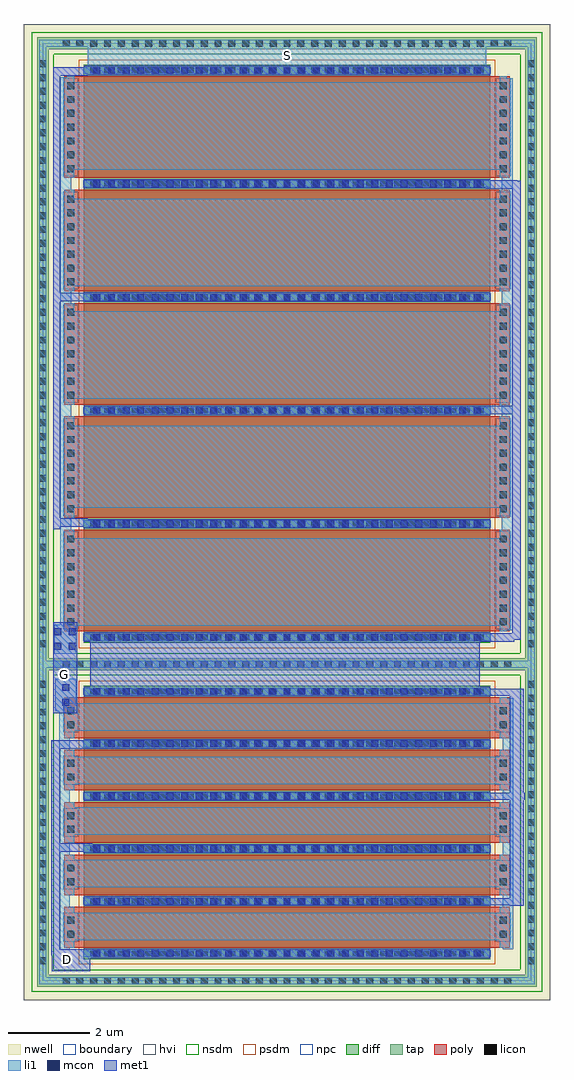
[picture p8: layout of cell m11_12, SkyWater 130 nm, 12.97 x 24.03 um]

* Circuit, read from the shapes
.subckt m11_12 D G S
XM1 n1 G D S sky130_fd_pr__pfet_g5v0d10v5 w=10 l=1 m=5
XM2 S G n1 S sky130_fd_pr__pfet_g5v0d10v5 w=10 l=2.5 m=5
.ends

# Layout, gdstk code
from math import pi, radians
import gdstk
lib = gdstk.Library(unit=1e-6, precision=1e-09)
def R(c, l, rs):  # rectangles x0, y0, x1, y1
    for r in rs: c.add(gdstk.rectangle(r[:2], r[2:], *l))
def A(c, l, x, y, w, h, nx, ny, dx, dy):  # array of equal rectangles
    R(c, l, [(x+i*dx, y+j*dy, x+i*dx+w, y+j*dy+h) for i in range(nx) for j in range(ny)])
nwell = (64, 20)
diff = (65, 20)
tap = (65, 44)
poly = (66, 20)
licon = (66, 44)
li1 = (67, 20)
mcon = (67, 44)
met1 = (68, 20)
hvi = (75, 20)
nsdm = (93, 44)
psdm = (94, 20)
npc = (95, 20)
boundary = (235, 4)

sky130_fd_pr__pfet_g5v0d = lib.new_cell('sky130_fd_pr__pfet_g5v0d10v5_K6B4C5')
R(sky130_fd_pr__pfet_g5v0d, nwell, [(-4.37,-6.485,4.37,6.485)])
R(sky130_fd_pr__pfet_g5v0d, diff, [(-3.37,-5,3.37,5)])
R(sky130_fd_pr__pfet_g5v0d, tap, [(-4.04,-6.155,4.04,-5.865), (-4.04,-5.865,-3.75,5.865), (3.75,-5.865,4.04,5.865), (-4.04,5.865,4.04,6.155)])
A(sky130_fd_pr__pfet_g5v0d, poly, -3.08, -5.485, 1, 10.97, 5, 1, 1.29, 0)
A(sky130_fd_pr__pfet_g5v0d, licon, -3.485, -6.095, 0.17, 0.17, 21, 2, 0.34, 12.02)
A(sky130_fd_pr__pfet_g5v0d, licon, -3.98, -5.525, 0.17, 0.17, 1, 33, 0, 0.34)
A(sky130_fd_pr__pfet_g5v0d, licon, 3.81, -5.525, 0.17, 0.17, 1, 33, 0, 0.34)
A(sky130_fd_pr__pfet_g5v0d, licon, -3.31, -4.845, 0.17, 0.17, 6, 29, 1.29, 0.34)
R(sky130_fd_pr__pfet_g5v0d, licon, [(-2.835,-5.405,-2.665,-5.235), (-2.495,-5.405,-2.325,-5.235), (-1.545,-5.405,-1.375,-5.235), (-1.205,-5.405,-1.035,-5.235), (-0.255,-5.405,-0.085,-5.235), (0.085,-5.405,0.255,-5.235), (1.035,-5.405,1.205,-5.235), (1.375,-5.405,1.545,-5.235), (2.325,-5.405,2.495,-5.235), (2.665,-5.405,2.835,-5.235), (-2.835,5.235,-2.665,5.405), (-2.495,5.235,-2.325,5.405), (-1.545,5.235,-1.375,5.405), (-1.205,5.235,-1.035,5.405), (-0.255,5.235,-0.085,5.405), (0.085,5.235,0.255,5.405), (1.035,5.235,1.205,5.405), (1.375,5.235,1.545,5.405), (2.325,5.235,2.495,5.405), (2.665,5.235,2.835,5.405)])
A(sky130_fd_pr__pfet_g5v0d, li1, -3.08, -5.405, 1, 0.17, 5, 2, 1.29, 10.64)
A(sky130_fd_pr__pfet_g5v0d, li1, -3.31, -5.02, 0.17, 10.04, 6, 1, 1.29, 0)
R(sky130_fd_pr__pfet_g5v0d, li1, [(-3.98,-6.095,3.98,-5.925), (-3.98,-5.925,-3.81,5.925), (3.81,-5.925,3.98,5.925), (-3.98,5.925,3.98,6.095)])
A(sky130_fd_pr__pfet_g5v0d, mcon, -3.31, -4.765, 0.17, 0.17, 6, 27, 1.29, 0.36)
A(sky130_fd_pr__pfet_g5v0d, met1, -3.34, -5, 0.23, 10, 6, 1, 1.29, 0)
R(sky130_fd_pr__pfet_g5v0d, hvi, [(-4.37,-6.485,4.37,6.485)])
R(sky130_fd_pr__pfet_g5v0d, nsdm, [(-4.165,-6.28,4.165,-5.74), (-4.165,-5.74,-3.625,5.74), (3.625,-5.74,4.165,5.74), (-4.165,5.74,4.165,6.28)])
R(sky130_fd_pr__pfet_g5v0d, psdm, [(-3.495,-5.125,3.495,5.125)])
A(sky130_fd_pr__pfet_g5v0d, npc, -2.935, -5.505, 0.71, 0.37, 5, 2, 1.29, 10.64)
R(sky130_fd_pr__pfet_g5v0d, boundary, [(-3.895,-6.01,3.895,6.01)])

c_sky130_fd_pr__pfet_g5v0d = lib.new_cell('sky130_fd_pr__pfet_g5v0d10v5_4QM9AE')
R(c_sky130_fd_pr__pfet_g5v0d, nwell, [(-8.12,-6.485,8.12,6.485)])
R(c_sky130_fd_pr__pfet_g5v0d, diff, [(-7.12,-5,7.12,5)])
R(c_sky130_fd_pr__pfet_g5v0d, tap, [(-7.79,-6.155,7.79,-5.865), (-7.79,-5.865,-7.5,5.865), (7.5,-5.865,7.79,5.865), (-7.79,5.865,7.79,6.155)])
A(c_sky130_fd_pr__pfet_g5v0d, poly, -6.83, -5.485, 2.5, 10.97, 5, 1, 2.79, 0)
A(c_sky130_fd_pr__pfet_g5v0d, licon, -7.225, -6.095, 0.17, 0.17, 43, 2, 0.34, 12.02)
A(c_sky130_fd_pr__pfet_g5v0d, licon, -7.73, -5.525, 0.17, 0.17, 1, 33, 0, 0.34)
A(c_sky130_fd_pr__pfet_g5v0d, licon, -6.685, -5.405, 0.17, 0.17, 7, 2, 0.34, 10.64)
A(c_sky130_fd_pr__pfet_g5v0d, licon, -3.895, -5.405, 0.17, 0.17, 7, 2, 0.34, 10.64)
A(c_sky130_fd_pr__pfet_g5v0d, licon, -1.105, -5.405, 0.17, 0.17, 7, 2, 0.34, 10.64)
A(c_sky130_fd_pr__pfet_g5v0d, licon, 1.685, -5.405, 0.17, 0.17, 7, 2, 0.34, 10.64)
A(c_sky130_fd_pr__pfet_g5v0d, licon, 4.475, -5.405, 0.17, 0.17, 7, 2, 0.34, 10.64)
A(c_sky130_fd_pr__pfet_g5v0d, licon, -7.06, -4.845, 0.17, 0.17, 6, 29, 2.79, 0.34)
A(c_sky130_fd_pr__pfet_g5v0d, li1, -6.83, -5.405, 2.5, 0.17, 5, 2, 2.79, 10.64)
A(c_sky130_fd_pr__pfet_g5v0d, li1, -7.06, -5.02, 0.17, 10.04, 6, 1, 2.79, 0)
R(c_sky130_fd_pr__pfet_g5v0d, li1, [(-7.73,-6.095,7.73,-5.925), (-7.73,-5.925,-7.56,5.925), (7.56,-5.925,7.73,-5.76), (7.56,5.74,7.73,5.925), (-7.73,5.925,7.73,6.095)])
A(c_sky130_fd_pr__pfet_g5v0d, mcon, -7.06, -4.765, 0.17, 0.17, 6, 27, 2.79, 0.36)
A(c_sky130_fd_pr__pfet_g5v0d, met1, -7.09, -5, 0.23, 10, 6, 1, 2.79, 0)
R(c_sky130_fd_pr__pfet_g5v0d, hvi, [(-8.12,-6.485,8.12,6.485)])
R(c_sky130_fd_pr__pfet_g5v0d, nsdm, [(-7.915,-6.28,7.915,-5.74), (-7.915,-5.74,-7.375,5.74), (7.375,-5.74,7.915,5.74), (-7.915,5.74,7.915,6.28)])
R(c_sky130_fd_pr__pfet_g5v0d, psdm, [(-7.245,-5.125,7.245,5.125)])
A(c_sky130_fd_pr__pfet_g5v0d, npc, -6.785, -5.505, 2.41, 0.37, 5, 2, 2.79, 10.64)
R(c_sky130_fd_pr__pfet_g5v0d, boundary, [(-7.645,-6.01,7.645,6.01)])

m11_12 = lib.new_cell('m11_12')
R(m11_12, li1, [(-4.95,105.61,-4.69,105.84), (5.97,105.63,6.23,107.15), (-4.95,105.84,5.96,106.52), (-4.95,106.52,-4.69,108.44), (-4.67,107.15,6.23,107.83), (5.97,107.83,6.23,111.81), (-4.95,108.44,5.92,109.12), (-4.95,109.12,-4.69,109.69), (-4.95,109.69,5.96,110.37), (-4.95,110.37,-4.69,111), (-4.95,111,5.96,111.49), (-5.05,111.49,5.96,111.68), (-5.05,111.68,-4.53,112.29), (-5.07,112.9,-4.54,113.59), (5.95,113.48,6.22,113.59), (-5.07,113.59,6.22,113.62), (-4.92,113.62,6.22,115.74), (-4.92,115.74,-4.65,116.49), (5.95,115.74,6.22,116.49), (-4.92,116.49,6.22,118.51), (-4.92,118.51,-4.65,119.18), (5.95,118.51,6.22,119.18), (-4.92,119.18,6.22,121.33), (-4.92,121.33,-4.65,121.95), (5.95,121.33,6.22,121.95), (-4.92,121.95,6.22,124.1), (-4.92,124.1,-4.65,124.82), (5.95,124.1,6.22,124.82), (-4.92,124.82,6.22,126.97), (-4.92,126.97,-4.65,127.1), (5.95,126.97,6.22,127.07), (-4.25,127.22,5.57,127.98)])
R(m11_12, mcon, [(-4.875,111.625,-4.705,111.795), (-4.875,111.985,-4.705,112.155), (-5.07,112.995,-4.9,113.165), (-4.71,112.995,-4.54,113.165), (-5.07,113.355,-4.9,113.525), (-4.71,113.355,-4.54,113.525)])
A(m11_12, met1, -5.1, 116.03, 0.86, 0.21, 1, 3, 0, 5.55)
R(m11_12, met1, [(-5.13,105.08,-4.18,105.48), (-5.14,105.48,-4.18,105.63), (-5.14,105.63,-4.92,108.02), (6.14,106.69,6.49,106.71), (5.41,106.71,6.49,106.88), (6.14,106.88,6.49,109.31), (-5.14,108.02,-4.14,108.23), (-5.14,108.23,-4.92,110.565), (5.47,109.31,6.51,109.48), (6.14,109.48,6.49,111.87), (-5.14,110.565,-4.2,110.77), (-5.1,110.77,-4.2,110.775), (-5.09,111.43,-4.5,112.35), (5.51,111.87,6.49,112.04), (-4.18,111.97,5.4,113.32), (-5.09,112.35,-4.51,112.84), (-5.1,112.84,-4.51,113.68), (5.47,113.2,6.25,113.25), (5.47,113.25,6.41,113.41), (6.2,113.41,6.41,118.8), (-5.1,115.97,-4.92,116.03), (-5.1,116.24,-4.92,121.58), (5.47,118.8,6.41,119.01), (6.2,119.01,6.41,124.35), (-5.1,121.79,-4.92,127.13), (5.55,124.35,6.41,124.55), (5.55,124.55,6.33,124.56)])
m11_12.add(gdstk.Reference(sky130_fd_pr__pfet_g5v0d, (0.66,108.745), rotation=3*pi/2))
m11_12.add(gdstk.Reference(c_sky130_fd_pr__pfet_g5v0d, (0.66,120.285), rotation=3*pi/2))
m11_12.add(gdstk.Label('G', (-4.82,112.4), layer=68, texttype=5))
m11_12.add(gdstk.Label('D', (-4.74,105.37), layer=68, texttype=5))
m11_12.add(gdstk.Label('S', (0.66,127.64), layer=67, texttype=5))

lib.write_gds('m11_12.gds')
